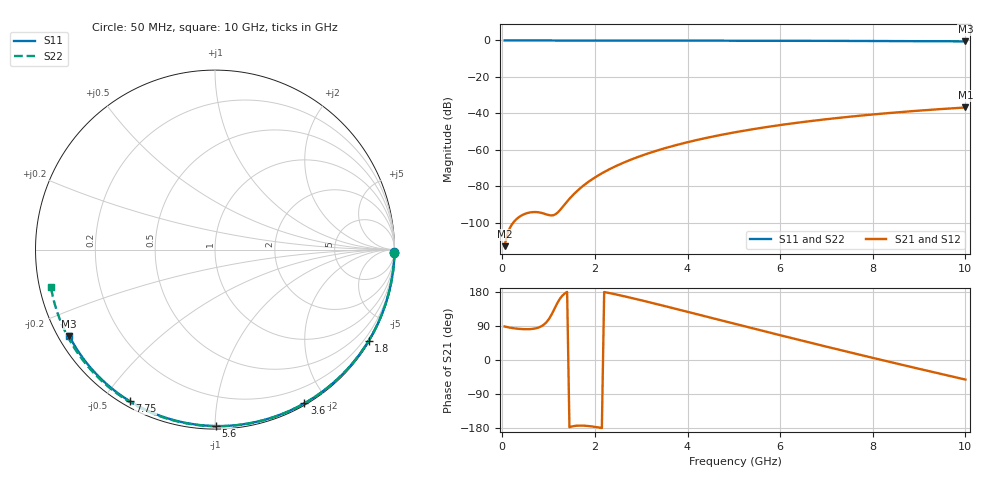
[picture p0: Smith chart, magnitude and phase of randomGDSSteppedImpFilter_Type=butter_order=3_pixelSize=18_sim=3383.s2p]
! freq	dB(S11)	phase(S11)	dB(S12)	phase(S12)
!  dB(S21)	phase(S21)	dB(S22)	phase(S22)
!S-par simulation data
#  GHz  S  DB  R 50
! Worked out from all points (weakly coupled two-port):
!   200 points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, 50 MHz to 10 GHz, reference 50 ohm
!   highest |S21| = -36.74 dB at 10 GHz (marker M1); lowest = -112.7 dB at 50 MHz (marker M2)
!   lowest |S11| = -0.5 dB at 10 GHz (marker M3), VSWR 34.72, Z = 1.55 - j13.7 ohm
!   |S11| at or under -10 dB: nowhere
!   |S22| runs from -0.6 to 0.0 dB; largest |S21 - S12| = 0
!   S11 on the Smith chart (normalised r, x): 50 MHz: open; 1.8 GHz: 0.03, -3.65; 3.6 GHz: 0.02, -1.74; 5.6 GHz: 0.02, -1.00; 7.75 GHz: 0.02, -0.58; 10 GHz: 0.03, -0.27
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0.05  -0.00 -0.9  -112.73 88.5  -112.73 88.5  -0.00 -1.0
0.45  -0.01 -7.8  -95.46 81.4  -95.46 81.4  -0.01 -8.7
0.85  -0.02 -14.6  -94.52 89.5  -94.52 89.5  -0.02 -16.3
1.25  -0.03 -21.4  -92.85 162.6  -92.85 162.6  -0.03 -23.8
1.7  -0.04 -29.0  -80.62 -173.1  -80.62 -173.1  -0.04 -32.2
1.75  -0.04 -29.8  -79.58 -173.2  -79.58 -173.2  -0.04 -33.1
1.8  -0.04 -30.7  -78.60 -173.6  -78.60 -173.6  -0.04 -34.0
2.1  -0.05 -35.7  -73.54 -178.4  -73.54 -178.4  -0.05 -39.6
2.3  -0.05 -39.0  -70.75 177.0  -70.75 177.0  -0.06 -43.2
2.5  -0.05 -42.2  -68.30 171.8  -68.30 171.8  -0.06 -46.8
2.9  -0.06 -48.7  -64.13 160.5  -64.13 160.5  -0.07 -54.0
3.4  -0.08 -56.7  -59.89 145.6  -59.89 145.6  -0.08 -62.8
3.6  -0.08 -59.8  -58.41 139.5  -58.41 139.5  -0.09 -66.2
4.3  -0.10 -70.6  -53.99 117.9  -53.99 117.9  -0.11 -78.1
5.05  -0.13 -81.8  -50.20 94.6  -50.20 94.6  -0.14 -90.4
5.6  -0.15 -89.7  -47.87 77.7  -47.87 77.7  -0.16 -99.2
6.15  -0.17 -97.5  -45.83 60.8  -45.83 60.8  -0.19 -107.8
6.7  -0.20 -105.2  -44.04 44.2  -44.04 44.2  -0.23 -116.3
7.75  -0.28 -119.4  -41.16 13.0  -41.16 13.0  -0.31 -132.3
8.35  -0.33 -127.4  -39.78 -4.6  -39.78 -4.6  -0.36 -141.4
9.2  -0.41 -138.7  -38.08 -29.0  -38.08 -29.0  -0.46 -154.4
10  -0.50 -149.4  -36.74 -51.6  -36.74 -51.6  -0.56 -167.0
